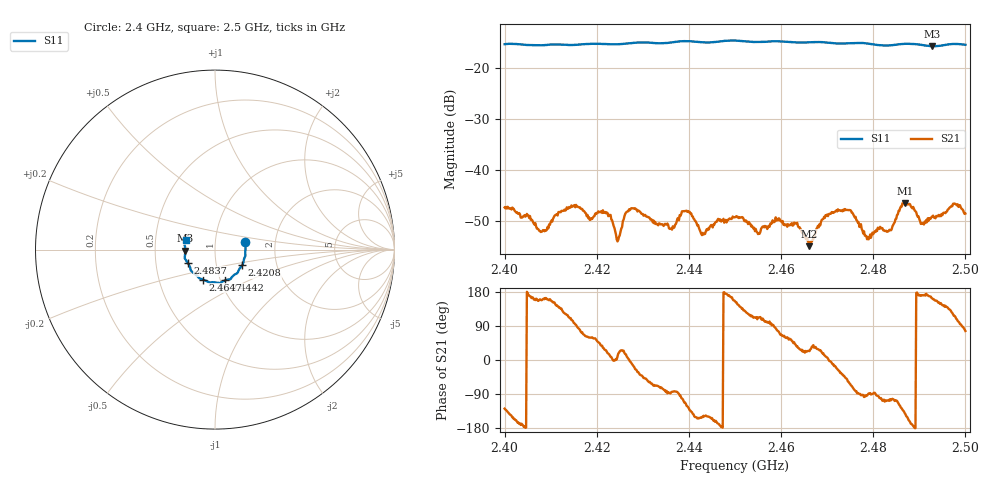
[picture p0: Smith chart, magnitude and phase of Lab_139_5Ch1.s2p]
# Hz S RI R 50
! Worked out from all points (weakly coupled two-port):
!   601 points, 2.4 GHz to 2.5 GHz, reference 50 ohm
!   highest |S21| = -46.52 dB at 2.487 GHz (marker M1); lowest = -55.0 dB at 2.4662 GHz (marker M2)
!   lowest |S11| = -15.6 dB at 2.4928 GHz (marker M3), VSWR 1.40, Z = 35.8 - j0.381 ohm
!   |S11| at or under -10 dB: start of sweep to end of sweep
!   S12 and S22 are empty: the file has one direction only
!   S11 on the Smith chart (normalised r, x): 2.4 GHz: 1.40, +0.12; 2.4208 GHz: 1.33, -0.24; 2.4442 GHz: 1.05, -0.37; 2.4647 GHz: 0.83, -0.29; 2.4837 GHz: 0.73, -0.11; 2.5 GHz: 0.72, +0.08
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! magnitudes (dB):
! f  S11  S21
! 2.4 GHz  -15.2  -47.4
! 2.4082 GHz  -15.4  -52.1
! 2.4167 GHz  -15.3  -47.7
! 2.4208 GHz  -15.2  -48.3
! 2.4245 GHz  -15.2  -54.1
! 2.4275 GHz  -15.0  -47.6
! 2.4333 GHz  -15.0  -50.9
! 2.4393 GHz  -14.6  -48.1
! 2.4442 GHz  -14.9  -51.6
! 2.45 GHz  -14.5  -49.4
! 2.4647 GHz  -14.9  -52.5
! 2.4662 GHz  -14.9  -55.0
! 2.4667 GHz  -14.8  -54.1
! 2.4723 GHz  -15.1  -47.8
! 2.4752 GHz  -15.0  -48.0
! 2.4787 GHz  -15.1  -53.7
! 2.4833 GHz  -15.5  -52.1
! 2.4837 GHz  -15.5  -51.8
! 2.487 GHz  -15.1  -46.5
! 2.4905 GHz  -15.4  -50.6
! 2.4928 GHz  -15.6  -49.2
! 2.5 GHz  -15.3  -48.6
